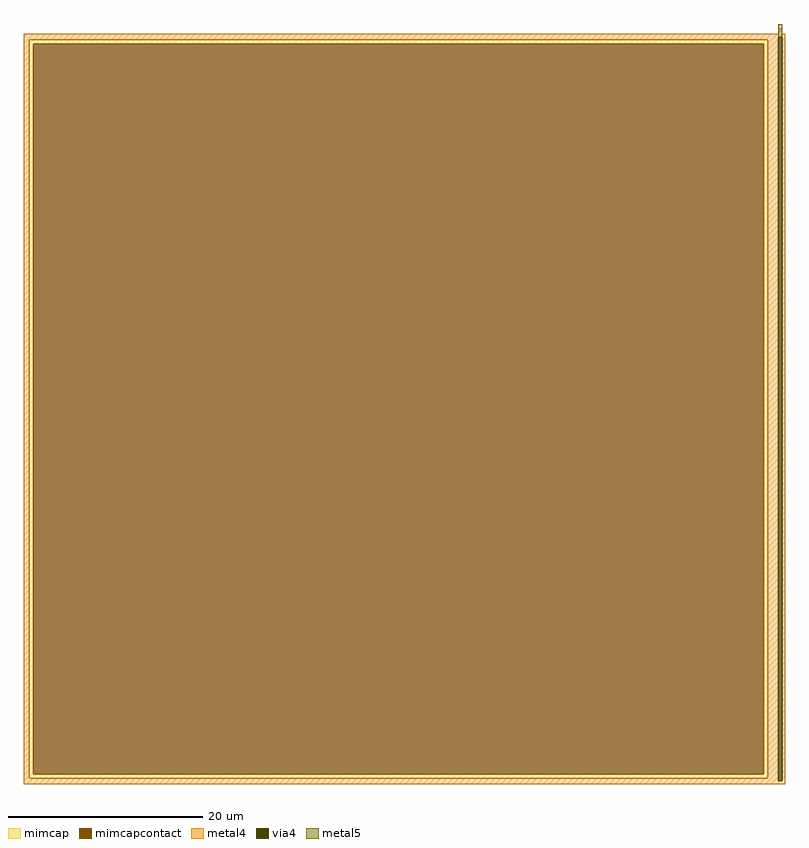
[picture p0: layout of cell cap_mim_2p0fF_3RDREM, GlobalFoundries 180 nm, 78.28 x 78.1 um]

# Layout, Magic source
magic
tech gf180mcuD
magscale 1 10
<< mimcap >>
rect -7708 7508 7468 7588
rect -7708 -7508 -7628 7508
rect 7388 -7508 7468 7508
rect -7708 -7588 7468 -7508
<< mimcapcontact >>
rect -7628 -7508 7388 7508
<< metal4 >>
rect 7677 7708 7767 7822
rect -7828 7641 7828 7708
rect -7828 7588 7678 7641
rect -7828 -7588 -7708 7588
rect 7468 -7588 7678 7588
rect -7828 -7641 7678 -7588
rect 7766 -7641 7828 7641
rect -7828 -7708 7828 -7641
<< via4 >>
rect 7678 -7641 7766 7641
<< metal5 >>
rect 7677 7641 7767 7911
rect 7678 -7651 7766 -7641
<< properties >>
string FIXED_BBOX -7828 -7708 7588 7708
string gencell cap_mim_2p0fF
string library gf180mcu
string parameters w 75.875 l 75.875 val 149.999k carea 25.00 cperi 20.00 class capacitor nx 1 ny 1 dummy 0 square 1 lmin 5.00 wmin 5.00 lmax 100.0 wmax 100.0 dc 0 bconnect 1 tconnect 1
<< end >>
